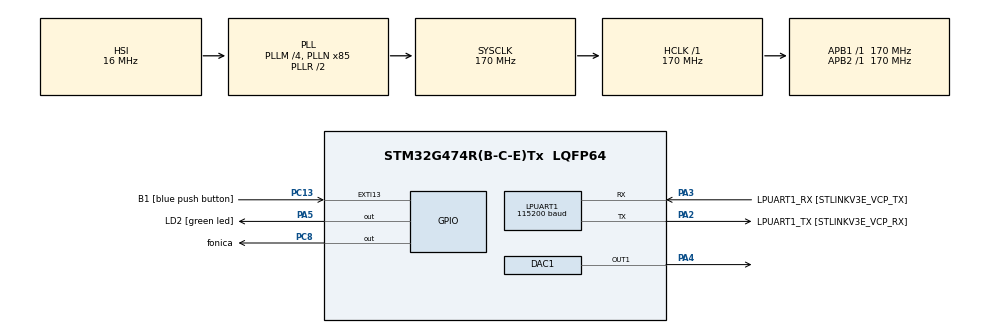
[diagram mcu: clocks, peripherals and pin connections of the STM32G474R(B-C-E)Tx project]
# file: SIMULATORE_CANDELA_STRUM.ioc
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DAC1.DAC_Trigger2_OUT1-DAC_OUT1=DAC_TRIGGER_T6_TRGO
DAC1.DAC_Trigger_OUT1-DAC_OUT1=DAC_TRIGGER_T2_TRGO
DAC1.StepDataSawtooth-DAC_OUT1=0
DAC1.WaveGeneration_OUT1-DAC_OUT1=SawtoothWaveGenerate
Dma.DAC1_CH1.0.Direction=DMA_MEMORY_TO_PERIPH
Dma.DAC1_CH1.0.EventEnable=DISABLE
Dma.DAC1_CH1.0.Instance=DMA1_Channel1
Dma.DAC1_CH1.0.MemDataAlignment=DMA_MDATAALIGN_HALFWORD
Dma.DAC1_CH1.0.MemInc=DMA_MINC_ENABLE
Dma.DAC1_CH1.0.Mode=DMA_CIRCULAR
Dma.DAC1_CH1.0.PeriphDataAlignment=DMA_PDATAALIGN_WORD
Dma.DAC1_CH1.0.PeriphInc=DMA_PINC_DISABLE
Dma.DAC1_CH1.0.Polarity=HAL_DMAMUX_REQ_GEN_RISING
Dma.DAC1_CH1.0.Priority=DMA_PRIORITY_LOW
Dma.DAC1_CH1.0.RequestNumber=1
Dma.DAC1_CH1.0.SignalID=NONE
Dma.DAC1_CH1.0.SyncEnable=DISABLE
Dma.DAC1_CH1.0.SyncPolarity=HAL_DMAMUX_SYNC_NO_EVENT
Dma.DAC1_CH1.0.SyncRequestNumber=1
Dma.DAC1_CH1.0.SyncSignalID=NONE
Dma.Request0=DAC1_CH1
LPUART1.BaudRate=115200
LPUART1.WordLength=UART_WORDLENGTH_8B
Mcu.Family=STM32G4
Mcu.Name=STM32G474R(B-C-E)Tx
Mcu.Package=LQFP64
NVIC.DMA1_Channel1_IRQn=true\:0\:0\:false\:false\:true\:false\:true
NVIC.EXTI15_10_IRQn=true\:0\:0\:false\:false\:true\:true\:true
NVIC.PriorityGroup=NVIC_PRIORITYGROUP_4
NVIC.TIM4_IRQn=true\:0\:0\:false\:false\:true\:true\:true
PA13.GPIO_Label=T_SWDIO
PA13.Mode=Serial_Wire
PA13.Signal=SYS_JTMS-SWDIO
PA14.GPIO_Label=T_SWCLK
PA14.Mode=Serial_Wire
PA14.Signal=SYS_JTCK-SWCLK
PA2.GPIO_Label=LPUART1_TX [STLINKV3E_VCP_RX]
PA2.Mode=Asynchronous
PA2.Signal=LPUART1_TX
PA3.GPIO_Label=LPUART1_RX [STLINKV3E_VCP_TX]
PA3.Mode=Asynchronous
PA3.Signal=LPUART1_RX
PA4.Signal=COMP_DAC11_group
PA5.GPIO_Label=LD2 [green led]
PA5.Signal=GPIO_Output
PB3.GPIO_Label=T_SWO
PB3.Signal=SYS_JTDO-SWO
PC13.GPIO_Label=B1 [blue push button]
PC13.Signal=GPXTI13
PC14-OSC32_IN.Mode=LSE-External-Oscillator
PC14-OSC32_IN.Signal=RCC_OSC32_IN
PC15-OSC32_OUT.Mode=LSE-External-Oscillator
PC15-OSC32_OUT.Signal=RCC_OSC32_OUT
PC8.GPIO_Label=fonica
PC8.Signal=GPIO_Output
PF0-OSC_IN.Mode=HSE-External-Oscillator
PF0-OSC_IN.Signal=RCC_OSC_IN
PF1-OSC_OUT.Mode=HSE-External-Oscillator
PF1-OSC_OUT.Signal=RCC_OSC_OUT
ProjectManager.HeapSize=0x200
ProjectManager.StackSize=0x400
ProjectManager.TargetToolchain=STM32CubeIDE
RCC.ADC12Freq_Value=170000000
RCC.ADC345Freq_Value=170000000
RCC.AHBFreq_Value=170000000
RCC.APB1Freq_Value=170000000
RCC.APB1TimFreq_Value=170000000
RCC.APB2Freq_Value=170000000
RCC.APB2TimFreq_Value=170000000
RCC.CortexFreq_Value=170000000
RCC.EXTERNAL_CLOCK_VALUE=12288000
RCC.HCLKFreq_Value=170000000
RCC.HSE_VALUE=24000000
RCC.HSI48_VALUE=48000000
RCC.HSI_VALUE=16000000
RCC.PLLM=RCC_PLLM_DIV4
RCC.PLLN=85
RCC.RTCClockSelection=RCC_RTCCLKSOURCE_LSE
RCC.SYSCLKFreq_VALUE=170000000
RCC.SYSCLKSource=RCC_SYSCLKSOURCE_PLLCLK
RCC.USBFreq_Value=170000000
RCC.VCOOutputFreq_Value=340000000
SH.COMP_DAC11_group.0=DAC1_OUT1,DAC_OUT1
TIM2.PeriodNoDither=500
TIM2.Prescaler=169
TIM2.TIM_MasterOutputTrigger=TIM_TRGO_UPDATE
TIM4.AutoReloadPreload=TIM_AUTORELOAD_PRELOAD_DISABLE
TIM4.PeriodNoDither=500
TIM4.Prescaler=169
TIM6.PeriodNoDither=500
TIM6.Prescaler=169
TIM6.TIM_MasterOutputTrigger=TIM_TRGO_UPDATE
VP_SYS_VS_DBSignals.Mode=DisableDeadBatterySignals
VP_TIM2_VS_ClockSourceINT.Mode=Internal
VP_TIM4_VS_ClockSourceINT.Mode=Internal
VP_TIM6_VS_ClockSourceINT.Mode=Enable_Timer
board=NUCLEO-G474RE

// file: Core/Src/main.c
/* USER CODE BEGIN Header */
/**
  ******************************************************************************
  * @file           : main.c
  * @brief          : Main program body
  ******************************************************************************
  * @attention
  *
  * <h2><center>&copy; Copyright (c) 2020 STMicroelectronics.
  * All rights reserved.</center></h2>
  *
  * This software component is licensed by ST under BSD 3-Clause license,
  * the "License"; You may not use this file except in compliance with the
  * License. You may obtain a copy of the License at:
  *                        opensource.org/licenses/BSD-3-Clause
  *
  ******************************************************************************
  */
/* USER CODE END Header */

#include "main.h"

/* USER CODE BEGIN PTD */
typedef enum
{
  DAC_WAVE_SAWTOOTH,
  DAC_WAVE_SINE
} t_wavetype;
/* USER CODE END PTD */

/* USER CODE BEGIN PD */
#define SAWTOOTH_NB_STEPS  60
/* USER CODE END PD */

DAC_HandleTypeDef hdac1;
DMA_HandleTypeDef hdma_dac1_ch1;

UART_HandleTypeDef hlpuart1;

TIM_HandleTypeDef htim2;
TIM_HandleTypeDef htim4;
TIM_HandleTypeDef htim6;

/* USER CODE BEGIN PV */
__IO uint8_t ubKeyPressed = RESET;
__IO t_wavetype ubSelectedWavesForm = DAC_WAVE_SAWTOOTH;
uint8_t i=0;
/* Sine wave values for a complete symbol */
uint16_t sinewave[60] = {
0x07ff,0x08cb,0x0994,0x0a5a,0x0b18,0x0bce,0x0c79,0x0d18,0x0da8,0x0e29,0x0e98,0x0ef4,0x0f3e,0x0f72,0x0f92,0x0f9d,
0x0f92,0x0f72,0x0f3e,0x0ef4,0x0e98,0x0e29,0x0da8,0x0d18,0x0c79,0x0bce,0x0b18,0x0a5a,0x0994,0x08cb,0x07ff,0x0733,
0x066a,0x05a4,0x04e6,0x0430,0x0385,0x02e6,0x0256,0x01d5,0x0166,0x010a,0x00c0,0x008c,0x006c,0x0061,0x006c,0x008c,
0x00c0,0x010a,0x0166,0x01d5,0x0256,0x02e6,0x0385,0x0430,0x04e6,0x05a4,0x066a,0x0733};

static DAC_ChannelConfTypeDef sDacConfig = {0};
/* USER CODE END PV */

void SystemClock_Config(void);
static void MX_GPIO_Init(void);
static void MX_DMA_Init(void);
static void MX_LPUART1_UART_Init(void);
static void MX_TIM4_Init(void);
static void MX_DAC1_Init(void);
static void MX_TIM2_Init(void);
static void MX_TIM6_Init(void);
/* USER CODE BEGIN PFP */
static void DAC_ChangeWave(t_wavetype wave);
/* USER CODE END PFP */

int main(void)
{

  /* MCU Configuration--------------------------------------------------------*/

  /* Reset of all peripherals, Initializes the Flash interface and the Systick. */
  HAL_Init();

  /* Configure the system clock */
  SystemClock_Config();

  /* Initialize all configured peripherals */
  MX_GPIO_Init();
  MX_DMA_Init();
  MX_LPUART1_UART_Init();
  MX_TIM4_Init();
  MX_DAC1_Init();
  MX_TIM2_Init();
  MX_TIM6_Init();
  /* USER CODE BEGIN 2 */
  HAL_TIM_Base_Start_IT(&htim4);
  if (HAL_TIM_Base_Start(&htim2) != HAL_OK)
    {
      /* Counter enable error */
      Error_Handler();
    }
    if (HAL_TIM_Base_Start(&htim6) != HAL_OK)
    {
      /* Counter enable error */
      Error_Handler();
    }
    if (HAL_DAC_Start(&hdac1, DAC_CHANNEL_1) != HAL_OK)
    {
        /* DAC conversion start error */
        Error_Handler();
      }
    ubSelectedWavesForm = DAC_WAVE_SINE;
    DAC_ChangeWave(ubSelectedWavesForm);
  /* USER CODE END 2 */

  /* Infinite loop */
  while (1)
  {

  }
}

void SystemClock_Config(void)
{
  RCC_OscInitTypeDef RCC_OscInitStruct = {0};
  RCC_ClkInitTypeDef RCC_ClkInitStruct = {0};
  RCC_PeriphCLKInitTypeDef PeriphClkInit = {0};

  /** Configure the main internal regulator output voltage
  */
  HAL_PWREx_ControlVoltageScaling(PWR_REGULATOR_VOLTAGE_SCALE1_BOOST);
  /** Initializes the CPU, AHB and APB busses clocks
  */
  RCC_OscInitStruct.OscillatorType = RCC_OSCILLATORTYPE_HSI;
  RCC_OscInitStruct.HSIState = RCC_HSI_ON;
  RCC_OscInitStruct.HSICalibrationValue = RCC_HSICALIBRATION_DEFAULT;
  RCC_OscInitStruct.PLL.PLLState = RCC_PLL_ON;
  RCC_OscInitStruct.PLL.PLLSource = RCC_PLLSOURCE_HSI;
  RCC_OscInitStruct.PLL.PLLM = RCC_PLLM_DIV4;
  RCC_OscInitStruct.PLL.PLLN = 85;
  RCC_OscInitStruct.PLL.PLLP = RCC_PLLP_DIV2;
  RCC_OscInitStruct.PLL.PLLQ = RCC_PLLQ_DIV2;
  RCC_OscInitStruct.PLL.PLLR = RCC_PLLR_DIV2;
  if (HAL_RCC_OscConfig(&RCC_OscInitStruct) != HAL_OK)
  {
    Error_Handler();
  }
  /** Initializes the CPU, AHB and APB busses clocks
  */
  RCC_ClkInitStruct.ClockType = RCC_CLOCKTYPE_HCLK|RCC_CLOCKTYPE_SYSCLK
                              |RCC_CLOCKTYPE_PCLK1|RCC_CLOCKTYPE_PCLK2;
  RCC_ClkInitStruct.SYSCLKSource = RCC_SYSCLKSOURCE_PLLCLK;
  RCC_ClkInitStruct.AHBCLKDivider = RCC_SYSCLK_DIV1;
  RCC_ClkInitStruct.APB1CLKDivider = RCC_HCLK_DIV1;
  RCC_ClkInitStruct.APB2CLKDivider = RCC_HCLK_DIV1;

  if (HAL_RCC_ClockConfig(&RCC_ClkInitStruct, FLASH_LATENCY_8) != HAL_OK)
  {
    Error_Handler();
  }
  /** Initializes the peripherals clocks
  */
  PeriphClkInit.PeriphClockSelection = RCC_PERIPHCLK_LPUART1;
  PeriphClkInit.Lpuart1ClockSelection = RCC_LPUART1CLKSOURCE_PCLK1;
  if (HAL_RCCEx_PeriphCLKConfig(&PeriphClkInit) != HAL_OK)
  {
    Error_Handler();
  }
}

static void MX_DAC1_Init(void)
{

  DAC_ChannelConfTypeDef sConfig = {0};

  /** DAC Initialization
  */
  hdac1.Instance = DAC1;
  if (HAL_DAC_Init(&hdac1) != HAL_OK)
  {
    Error_Handler();
  }
  /** DAC channel OUT1 config
  */
  sConfig.DAC_HighFrequency = DAC_HIGH_FREQUENCY_INTERFACE_MODE_AUTOMATIC;
  sConfig.DAC_DMADoubleDataMode = DISABLE;
  sConfig.DAC_SignedFormat = DISABLE;
  sConfig.DAC_SampleAndHold = DAC_SAMPLEANDHOLD_DISABLE;
  sConfig.DAC_Trigger = DAC_TRIGGER_T2_TRGO;
  sConfig.DAC_Trigger2 = DAC_TRIGGER_T6_TRGO;
  sConfig.DAC_OutputBuffer = DAC_OUTPUTBUFFER_ENABLE;
  sConfig.DAC_ConnectOnChipPeripheral = DAC_CHIPCONNECT_DISABLE;
  sConfig.DAC_UserTrimming = DAC_TRIMMING_FACTORY;
  if (HAL_DAC_ConfigChannel(&hdac1, &sConfig, DAC_CHANNEL_1) != HAL_OK)
  {
    Error_Handler();
  }
  /** Configure Sawtooth wave generation on DAC OUT1
  */
  if (HAL_DACEx_SawtoothWaveGenerate(&hdac1, DAC_CHANNEL_1, DAC_SAWTOOTH_POLARITY_DECREMENT, 0, 0) != HAL_OK)
  {
    Error_Handler();
  }
  /* USER CODE BEGIN DAC1_Init 2 */
  if (HAL_DACEx_SawtoothWaveGenerate(&hdac1, DAC_CHANNEL_1, DAC_SAWTOOTH_POLARITY_INCREMENT, 0, 0x10000/SAWTOOTH_NB_STEPS) != HAL_OK)
    {
      Error_Handler();
    }
  if (HAL_DACEx_SelfCalibrate(&hdac1, &sConfig, DAC_CHANNEL_1) != HAL_OK)
    {
      Error_Handler();
    }
  sDacConfig = sConfig;
  /* USER CODE END DAC1_Init 2 */

}

static void MX_LPUART1_UART_Init(void)
{

  hlpuart1.Instance = LPUART1;
  hlpuart1.Init.BaudRate = 115200;
  hlpuart1.Init.WordLength = UART_WORDLENGTH_8B;
  hlpuart1.Init.StopBits = UART_STOPBITS_1;
  hlpuart1.Init.Parity = UART_PARITY_NONE;
  hlpuart1.Init.Mode = UART_MODE_TX_RX;
  hlpuart1.Init.HwFlowCtl = UART_HWCONTROL_NONE;
  hlpuart1.Init.OneBitSampling = UART_ONE_BIT_SAMPLE_DISABLE;
  hlpuart1.AdvancedInit.AdvFeatureInit = UART_ADVFEATURE_NO_INIT;
  if (HAL_UART_Init(&hlpuart1) != HAL_OK)
  {
    Error_Handler();
  }
  if (HAL_UARTEx_SetTxFifoThreshold(&hlpuart1, UART_TXFIFO_THRESHOLD_1_8) != HAL_OK)
  {
    Error_Handler();
  }
  if (HAL_UARTEx_SetRxFifoThreshold(&hlpuart1, UART_RXFIFO_THRESHOLD_1_8) != HAL_OK)
  {
    Error_Handler();
  }
  if (HAL_UARTEx_DisableFifoMode(&hlpuart1) != HAL_OK)
  {
    Error_Handler();
  }

}

static void MX_TIM2_Init(void)
{

  TIM_ClockConfigTypeDef sClockSourceConfig = {0};
  TIM_MasterConfigTypeDef sMasterConfig = {0};

  htim2.Instance = TIM2;
  htim2.Init.Prescaler = 169;
  htim2.Init.CounterMode = TIM_COUNTERMODE_UP;
  htim2.Init.Period = 500;
  htim2.Init.ClockDivision = TIM_CLOCKDIVISION_DIV1;
  htim2.Init.AutoReloadPreload = TIM_AUTORELOAD_PRELOAD_DISABLE;
  if (HAL_TIM_Base_Init(&htim2) != HAL_OK)
  {
    Error_Handler();
  }
  sClockSourceConfig.ClockSource = TIM_CLOCKSOURCE_INTERNAL;
  if (HAL_TIM_ConfigClockSource(&htim2, &sClockSourceConfig) != HAL_OK)
  {
    Error_Handler();
  }
  sMasterConfig.MasterOutputTrigger = TIM_TRGO_UPDATE;
  sMasterConfig.MasterSlaveMode = TIM_MASTERSLAVEMODE_DISABLE;
  if (HAL_TIMEx_MasterConfigSynchronization(&htim2, &sMasterConfig) != HAL_OK)
  {
    Error_Handler();
  }

}

static void MX_TIM4_Init(void)
{

  TIM_ClockConfigTypeDef sClockSourceConfig = {0};
  TIM_MasterConfigTypeDef sMasterConfig = {0};

  htim4.Instance = TIM4;
  htim4.Init.Prescaler = 169;
  htim4.Init.CounterMode = TIM_COUNTERMODE_UP;
  htim4.Init.Period = 500;
  htim4.Init.ClockDivision = TIM_CLOCKDIVISION_DIV1;
  htim4.Init.AutoReloadPreload = TIM_AUTORELOAD_PRELOAD_DISABLE;
  if (HAL_TIM_Base_Init(&htim4) != HAL_OK)
  {
    Error_Handler();
  }
  sClockSourceConfig.ClockSource = TIM_CLOCKSOURCE_INTERNAL;
  if (HAL_TIM_ConfigClockSource(&htim4, &sClockSourceConfig) != HAL_OK)
  {
    Error_Handler();
  }
  sMasterConfig.MasterOutputTrigger = TIM_TRGO_RESET;
  sMasterConfig.MasterSlaveMode = TIM_MASTERSLAVEMODE_DISABLE;
  if (HAL_TIMEx_MasterConfigSynchronization(&htim4, &sMasterConfig) != HAL_OK)
  {
    Error_Handler();
  }

}

static void MX_TIM6_Init(void)
{

  TIM_MasterConfigTypeDef sMasterConfig = {0};

  htim6.Instance = TIM6;
  htim6.Init.Prescaler = 169;
  htim6.Init.CounterMode = TIM_COUNTERMODE_UP;
  htim6.Init.Period = 500;
  htim6.Init.AutoReloadPreload = TIM_AUTORELOAD_PRELOAD_DISABLE;
  if (HAL_TIM_Base_Init(&htim6) != HAL_OK)
  {
    Error_Handler();
  }
  sMasterConfig.MasterOutputTrigger = TIM_TRGO_UPDATE;
  sMasterConfig.MasterSlaveMode = TIM_MASTERSLAVEMODE_DISABLE;
  if (HAL_TIMEx_MasterConfigSynchronization(&htim6, &sMasterConfig) != HAL_OK)
  {
    Error_Handler();
  }

}

static void MX_DMA_Init(void)
{

  /* DMA controller clock enable */
  __HAL_RCC_DMAMUX1_CLK_ENABLE();
  __HAL_RCC_DMA1_CLK_ENABLE();

  /* DMA interrupt init */
  /* DMA1_Channel1_IRQn interrupt configuration */
  HAL_NVIC_SetPriority(DMA1_Channel1_IRQn, 0, 0);
  HAL_NVIC_EnableIRQ(DMA1_Channel1_IRQn);

}

static void MX_GPIO_Init(void)
{
  GPIO_InitTypeDef GPIO_InitStruct = {0};

  /* GPIO Ports Clock Enable */
  __HAL_RCC_GPIOC_CLK_ENABLE();
  __HAL_RCC_GPIOF_CLK_ENABLE();
  __HAL_RCC_GPIOA_CLK_ENABLE();
  __HAL_RCC_GPIOB_CLK_ENABLE();

  /*Configure GPIO pin Output Level */
  HAL_GPIO_WritePin(LD2_GPIO_Port, LD2_Pin, GPIO_PIN_RESET);

  /*Configure GPIO pin Output Level */
  HAL_GPIO_WritePin(fonica_GPIO_Port, fonica_Pin, GPIO_PIN_RESET);

  /*Configure GPIO pin : B1_Pin */
  GPIO_InitStruct.Pin = B1_Pin;
  GPIO_InitStruct.Mode = GPIO_MODE_IT_RISING;
  GPIO_InitStruct.Pull = GPIO_NOPULL;
  HAL_GPIO_Init(B1_GPIO_Port, &GPIO_InitStruct);

  /*Configure GPIO pin : LD2_Pin */
  GPIO_InitStruct.Pin = LD2_Pin;
  GPIO_InitStruct.Mode = GPIO_MODE_OUTPUT_PP;
  GPIO_InitStruct.Pull = GPIO_NOPULL;
  GPIO_InitStruct.Speed = GPIO_SPEED_FREQ_LOW;
  HAL_GPIO_Init(LD2_GPIO_Port, &GPIO_InitStruct);

  /*Configure GPIO pin : fonica_Pin */
  GPIO_InitStruct.Pin = fonica_Pin;
  GPIO_InitStruct.Mode = GPIO_MODE_OUTPUT_PP;
  GPIO_InitStruct.Pull = GPIO_NOPULL;
  GPIO_InitStruct.Speed = GPIO_SPEED_FREQ_LOW;
  HAL_GPIO_Init(fonica_GPIO_Port, &GPIO_InitStruct);

  /* EXTI interrupt init*/
  HAL_NVIC_SetPriority(EXTI15_10_IRQn, 0, 0);
  HAL_NVIC_EnableIRQ(EXTI15_10_IRQn);

}

/* USER CODE BEGIN 4 */
void HAL_TIM_PeriodElapsedCallback(TIM_HandleTypeDef *htim)
{
    if (htim->Instance==TIM4) //check if the interrupt comes from TIM2
        {
    	if (i<68){i++;
    	HAL_GPIO_TogglePin(fonica_GPIO_Port,fonica_Pin);
    	HAL_GPIO_TogglePin(LD2_GPIO_Port,LD2_Pin);}
    	else i++;
    	if (i>=74)i=0;

        }}
static void DAC_ChangeWave(t_wavetype wave)
{
  uint32_t tmp;

  /* Suspend Time Base triggers */
  if (HAL_TIM_Base_Stop(&htim2) != HAL_OK)
  {
    /* Counter enable error */
    Error_Handler();
  }
  if (HAL_TIM_Base_Stop(&htim6) != HAL_OK)
  {
    /* Counter enable error */
    Error_Handler();
  }

  switch(wave)
  {
    case DAC_WAVE_SAWTOOTH:
      if (HAL_DAC_Stop_DMA(&hdac1, DAC_CHANNEL_1) != HAL_OK)
      {
        /* DAC conversion start error */
        Error_Handler();
      }
      break;
    case DAC_WAVE_SINE:
      if (HAL_DAC_Stop(&hdac1, DAC_CHANNEL_1) != HAL_OK)
      {
        /* DAC conversion start error */
        Error_Handler();
      }
      break;
    default:
      Error_Handler();
      break;
  }

  /* Re-configure DAC */
  tmp = sDacConfig.DAC_Trigger;
  sDacConfig.DAC_Trigger = sDacConfig.DAC_Trigger2;
  sDacConfig.DAC_Trigger2 = tmp;
  if (HAL_DAC_ConfigChannel(&hdac1, &sDacConfig, DAC_CHANNEL_1) != HAL_OK)
  {
    Error_Handler();
  }

  /* Generate new wave */
  switch(wave)
  {
    case DAC_WAVE_SAWTOOTH:
      if (HAL_DACEx_SawtoothWaveGenerate(&hdac1, DAC_CHANNEL_1, DAC_SAWTOOTH_POLARITY_INCREMENT, 0, 0x10000/SAWTOOTH_NB_STEPS) != HAL_OK)
      {
        Error_Handler();
      }
      if (HAL_DAC_Start(&hdac1, DAC_CHANNEL_1) != HAL_OK)
      {
        /* DAC conversion start error */
        Error_Handler();
      }
      break;
    case DAC_WAVE_SINE:
      if (HAL_DAC_Start_DMA(&hdac1, DAC_CHANNEL_1,
                            (uint32_t *)sinewave,
                            60,
                            DAC_ALIGN_12B_R
                           ) != HAL_OK)
      {
        /* DAC conversion start error */
        Error_Handler();
      }
      break;
    default:
      Error_Handler();
      break;
  }

  /* Resume Time Base triggers */
  if (HAL_TIM_Base_Start(&htim2) != HAL_OK)
  {
    /* Counter enable error */
    Error_Handler();
  }
  if (HAL_TIM_Base_Start(&htim6) != HAL_OK)
  {
    /* Counter enable error */
    Error_Handler();
  }
}

/* USER CODE END 4 */

void Error_Handler(void)
{
}

/************************ (C) COPYRIGHT STMicroelectronics *****END OF FILE****/
